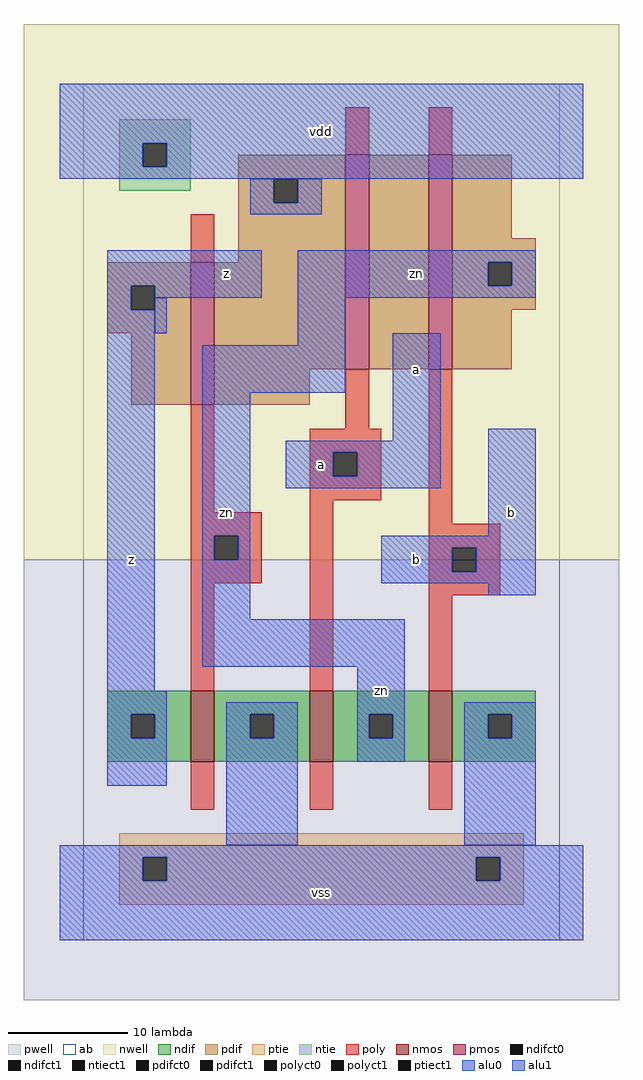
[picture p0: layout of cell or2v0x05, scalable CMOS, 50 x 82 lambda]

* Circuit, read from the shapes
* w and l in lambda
.subckt or2v0x05 a b vdd vss z zn
M1 vss zn z vss nfet w=6 l=2
M2 zn a vss vss nfet w=6 l=2
M3 vss b zn vss nfet w=6 l=2
M4 vdd zn z vdd pfet w=12 l=2
M5 n1 a vdd vdd pfet w=18 l=2
M6 zn b n1 vdd pfet w=18 l=2
.ends

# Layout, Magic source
magic
tech scmos
<< ab >>
rect 0 0 40 72
<< nwell >>
rect -5 32 45 77
<< pwell >>
rect -5 -5 45 32
<< poly >>
rect 22 66 24 70
rect 29 66 31 70
rect 9 57 11 61
rect 9 36 11 45
rect 22 43 24 48
rect 19 41 25 43
rect 19 39 21 41
rect 23 39 25 41
rect 19 37 25 39
rect 9 34 15 36
rect 9 32 11 34
rect 13 32 15 34
rect 9 30 15 32
rect 9 21 11 30
rect 19 21 21 37
rect 29 35 31 48
rect 29 33 35 35
rect 29 31 31 33
rect 33 31 35 33
rect 29 29 35 31
rect 29 21 31 29
rect 9 11 11 15
rect 19 11 21 15
rect 29 11 31 15
<< ndif >>
rect 2 19 9 21
rect 2 17 4 19
rect 6 17 9 19
rect 2 15 9 17
rect 11 19 19 21
rect 11 17 14 19
rect 16 17 19 19
rect 11 15 19 17
rect 21 19 29 21
rect 21 17 24 19
rect 26 17 29 19
rect 21 15 29 17
rect 31 19 38 21
rect 31 17 34 19
rect 36 17 38 19
rect 31 15 38 17
<< pdif >>
rect 13 64 22 66
rect 13 62 16 64
rect 18 62 22 64
rect 13 57 22 62
rect 2 55 9 57
rect 2 53 4 55
rect 6 53 9 55
rect 2 51 9 53
rect 4 45 9 51
rect 11 48 22 57
rect 24 48 29 66
rect 31 59 36 66
rect 31 57 38 59
rect 31 55 34 57
rect 36 55 38 57
rect 31 53 38 55
rect 31 48 36 53
rect 11 45 19 48
<< alu1 >>
rect -2 67 42 72
rect -2 65 5 67
rect 7 65 42 67
rect -2 64 42 65
rect 2 55 15 58
rect 2 53 4 55
rect 6 54 15 55
rect 2 21 6 53
rect 26 42 30 51
rect 17 41 30 42
rect 17 39 21 41
rect 23 39 30 41
rect 17 38 30 39
rect 34 34 38 43
rect 25 33 38 34
rect 25 31 31 33
rect 33 31 38 33
rect 25 30 38 31
rect 34 29 38 30
rect 2 19 7 21
rect 2 17 4 19
rect 6 17 7 19
rect 2 13 7 17
rect -2 7 42 8
rect -2 5 5 7
rect 7 5 33 7
rect 35 5 42 7
rect -2 0 42 5
<< ptie >>
rect 3 7 37 9
rect 3 5 5 7
rect 7 5 33 7
rect 35 5 37 7
rect 3 3 37 5
<< ntie >>
rect 3 67 9 69
rect 3 65 5 67
rect 7 65 9 67
rect 3 63 9 65
<< nmos >>
rect 9 15 11 21
rect 19 15 21 21
rect 29 15 31 21
<< pmos >>
rect 9 45 11 57
rect 22 48 24 66
rect 29 48 31 66
<< polyct0 >>
rect 11 32 13 34
<< polyct1 >>
rect 21 39 23 41
rect 31 31 33 33
<< ndifct0 >>
rect 14 17 16 19
rect 24 17 26 19
rect 34 17 36 19
<< ndifct1 >>
rect 4 17 6 19
<< ntiect1 >>
rect 5 65 7 67
<< ptiect1 >>
rect 5 5 7 7
rect 33 5 35 7
<< pdifct0 >>
rect 16 62 18 64
rect 34 55 36 57
<< pdifct1 >>
rect 4 53 6 55
<< alu0 >>
rect 14 62 16 64
rect 18 62 20 64
rect 14 61 20 62
rect 18 57 38 58
rect 18 55 34 57
rect 36 55 38 57
rect 18 54 38 55
rect 6 51 7 54
rect 18 50 22 54
rect 10 46 22 50
rect 10 34 14 46
rect 10 32 11 34
rect 13 32 14 34
rect 10 27 14 32
rect 10 23 27 27
rect 12 19 18 20
rect 12 17 14 19
rect 16 17 18 19
rect 12 8 18 17
rect 23 19 27 23
rect 23 17 24 19
rect 26 17 27 19
rect 23 15 27 17
rect 32 19 38 20
rect 32 17 34 19
rect 36 17 38 19
rect 32 8 38 17
<< labels >>
rlabel alu0 12 36 12 36 6 zn
rlabel alu0 25 21 25 21 6 zn
rlabel alu0 28 56 28 56 6 zn
rlabel alu1 4 32 4 32 6 z
rlabel alu1 12 56 12 56 6 z
rlabel alu1 20 4 20 4 6 vss
rlabel alu1 28 32 28 32 6 b
rlabel alu1 20 40 20 40 6 a
rlabel alu1 28 48 28 48 6 a
rlabel alu1 20 68 20 68 6 vdd
rlabel alu1 36 36 36 36 6 b
<< end >>
